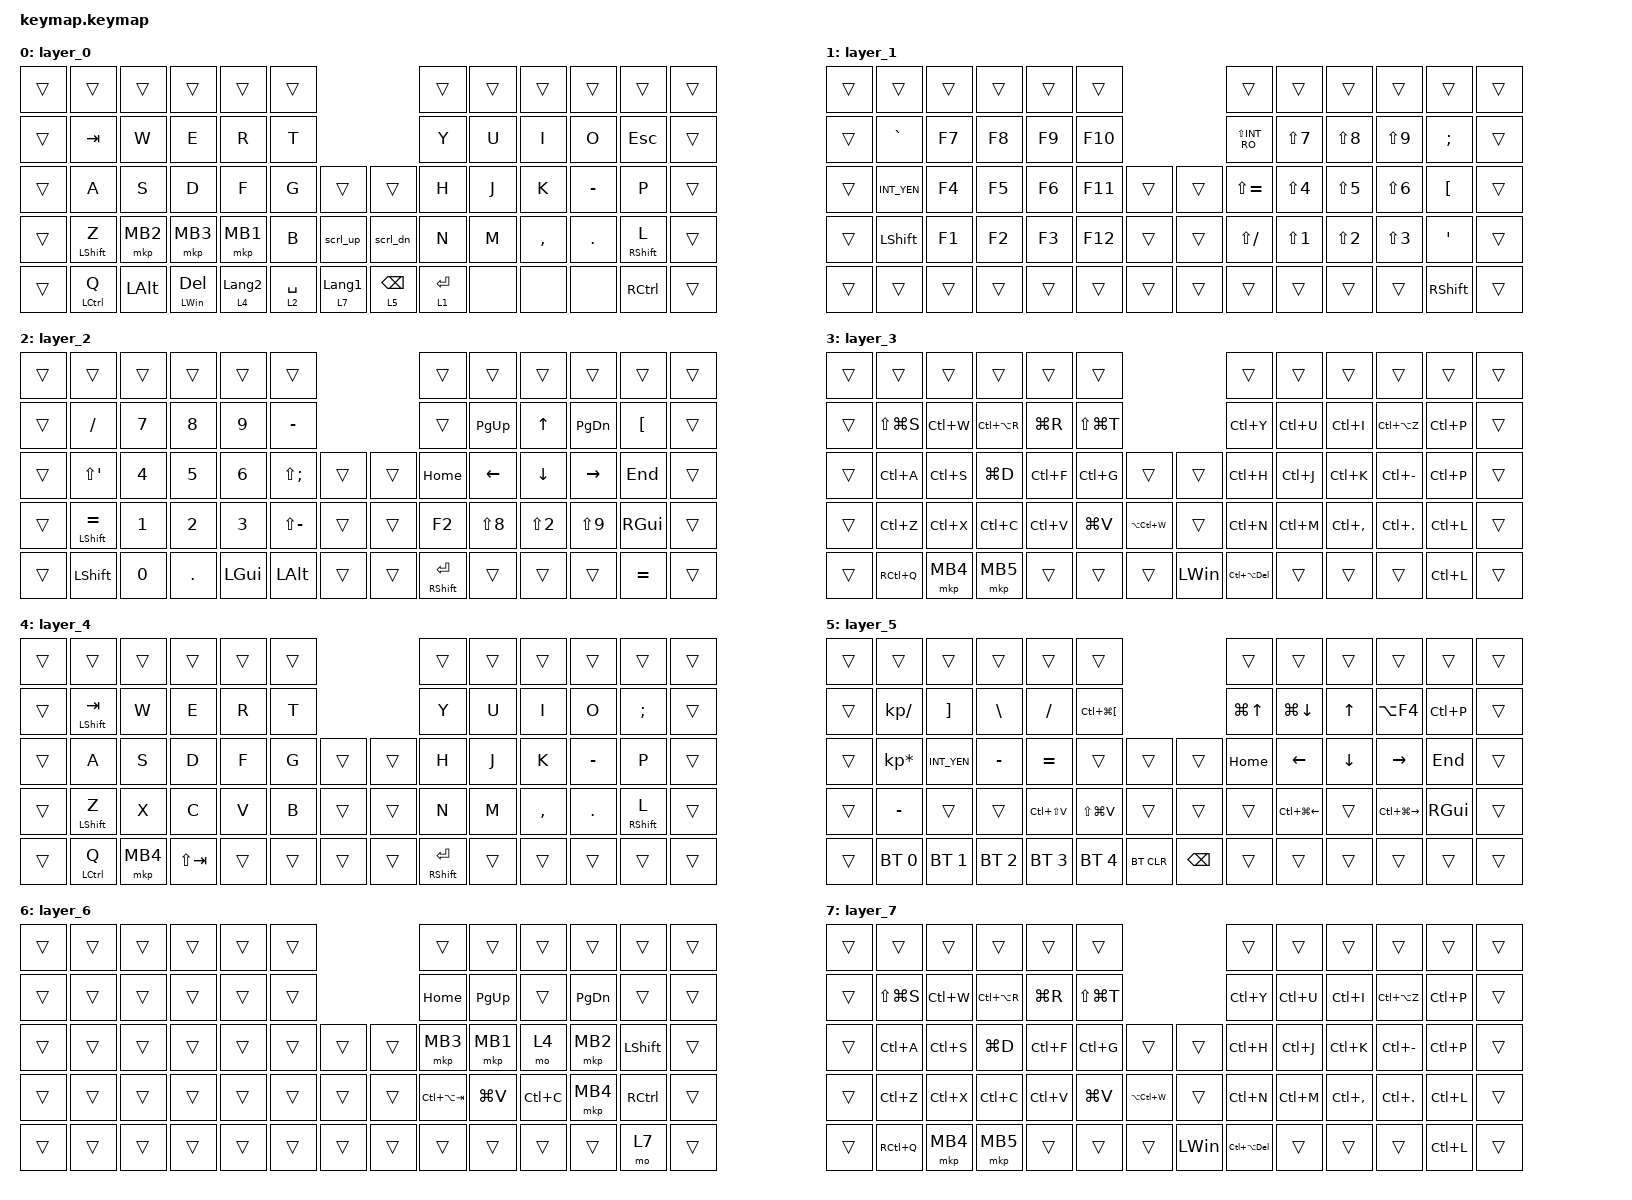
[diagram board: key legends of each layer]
#include <behaviors.dtsi>
#include <dt-bindings/zmk/bt.h>
#include <dt-bindings/zmk/keys.h>
#include <dt-bindings/zmk/pointing.h>

/ {
    behaviors {
        // カスタム layer-tap: tapping-term 175ms, quick-tap 200ms
        // Keyball39 QMK設定と同じ TAPPING_TERM 175ms
        // quick-tap-ms: 200ms以内に再タップ→ホールド判定スキップでタップキー出力
        //   (バックスペース素早い連打+長押しがレイヤー切替なしで動作)

        clt: custom_layer_tap {
            compatible = "zmk,behavior-hold-tap";
            #binding-cells = <2>;
            flavor = "balanced";
            tapping-term-ms = <175>;
            quick-tap-ms = <175>;
            bindings = <&mo>, <&kp>;
        };

        // 【旧】ダブルタップで LANGUAGE_1、ホールドで Layer 3
        // 【現】clt 3 LANGUAGE_1 に移行済み（下記定義は未使用）

        td_l3_lang1: tap_dance_layer3_lang1 {
            compatible = "zmk,behavior-tap-dance";
            #binding-cells = <0>;
            tapping-term-ms = <200>;
            bindings = <&mo 7>, <&kp LANGUAGE_1>;
        };

        // カスタム mod-tap: tapping-term 175ms, quick-tap 200ms
        // Keyball39 QMK設定と同じ TAPPING_TERM 175ms

        cmt: custom_mod_tap {
            compatible = "zmk,behavior-hold-tap";
            #binding-cells = <2>;
            flavor = "hold-preferred";
            tapping-term-ms = <175>;
            quick-tap-ms = <175>;
            bindings = <&kp>, <&kp>;
        };

        // Zキー専用 mod-tap: balanced + require-prior-idle 150ms
        // 高速タイピング中のSHIFT誤発動を防止

        cmt_z: custom_mod_tap_z {
            compatible = "zmk,behavior-hold-tap";
            #binding-cells = <2>;
            flavor = "balanced";
            tapping-term-ms = <250>;
            quick-tap-ms = <175>;
            require-prior-idle-ms = <150>;
            bindings = <&kp>, <&kp>;
        };

        // ワンショット固定スクロール: 上方向10

        scrl_up: scroll_up {
            compatible = "zmk,behavior-scroll-fixed";
            #binding-cells = <0>;
            scroll-y = <10>;
        };

        // ワンショット固定スクロール: 下方向10

        scrl_dn: scroll_down {
            compatible = "zmk,behavior-scroll-fixed";
            #binding-cells = <0>;
            scroll-y = <(-10)>;
        };
    };

    combos {
        compatible = "zmk,combos";

        bt_clear {
            bindings = <&bt BT_CLR>;
            key-positions = <28 29>;
            layers = <2>;
        };
    };

    keymap {
        compatible = "zmk,keymap";

        // ============================================================
        // Layer 0: Base (Remap Layer 0)
        // ============================================================

        layer_0 {
            bindings = <
&trans  &trans               &trans        &trans             &trans             &trans                                             &trans        &trans  &trans     &trans     &trans              &trans
&trans  &kp TAB              &kp W         &kp E              &kp R              &kp T                                              &kp Y         &kp U   &kp I      &kp O      &kp ESC             &trans
&trans  &kp A                &kp S         &kp D              &kp F              &kp G         &trans             &trans            &kp H         &kp J   &kp K      &kp MINUS  &kp P               &trans
&trans  &cmt_z LEFT_SHIFT Z  &mkp MB2      &mkp MB3           &mkp MB1           &kp B         &scrl_up           &scrl_dn          &kp N         &kp M   &kp COMMA  &kp DOT    &cmt RIGHT_SHIFT L  &trans
&trans  &cmt LCTRL Q         &kp LEFT_ALT  &cmt LEFT_WIN DEL  &clt 4 LANGUAGE_2  &clt 2 SPACE  &clt 7 LANGUAGE_1  &clt 5 BACKSPACE  &clt 1 ENTER  &none   &none      &none      &kp RCTRL           &trans
            >;
        };

        // ============================================================
        // Layer 1: F-keys + JIS Symbols (Remap Layer 1)
        //   Left:  ~¥  F7-F10 / |¥  F4-F6 F11 / *Shift F1-F3 F12
        //   Right: JIS symbols (Shift+Number) / ;  @  :  RShift
        // ============================================================

        layer_1 {
            bindings = <
&trans  &trans       &trans  &trans  &trans  &trans                   &trans          &trans      &trans      &trans      &trans      &trans
&trans  &kp GRAVE    &kp F7  &kp F8  &kp F9  &kp F10                  &kp LS(INT_RO)  &kp LS(N7)  &kp LS(N8)  &kp LS(N9)  &kp SEMI    &trans
&trans  &kp INT_YEN  &kp F4  &kp F5  &kp F6  &kp F11  &trans  &trans  &kp LS(EQUAL)   &kp LS(N4)  &kp LS(N5)  &kp LS(N6)  &kp LBKT    &trans
&trans  &kp LSHIFT   &kp F1  &kp F2  &kp F3  &kp F12  &trans  &trans  &kp LS(SLASH)   &kp LS(N1)  &kp LS(N2)  &kp LS(N3)  &kp SQT     &trans
&trans  &trans       &trans  &trans  &trans  &trans   &trans  &trans  &trans          &trans      &trans      &trans      &kp RSHIFT  &trans
            >;
        };

        // ============================================================
        // Layer 2: Numbers + Navigation (Remap Layer 2)
        //   Left:  ?/ 7 8 9 =- / * 4 5 6 + / ^(*Shift) 1 2 3 =
        //   Right: PgUp ↑ PgDn / Home ← ↓ → End / F2 ( " ) / Enter(*Shift)
        //   Note: Macro 0 excluded → &trans
        // ============================================================

        layer_2 {
            bindings = <
&trans  &trans             &trans  &trans   &trans    &trans                         &trans             &trans      &trans      &trans      &trans     &trans
&trans  &kp SLASH          &kp N7  &kp N8   &kp N9    &kp MINUS                      &trans             &kp PG_UP   &kp UP      &kp PG_DN   &kp LBKT   &trans
&trans  &kp LS(SQT)        &kp N4  &kp N5   &kp N6    &kp LS(SEMI)   &trans  &trans  &kp HOME           &kp LEFT    &kp DOWN    &kp RIGHT   &kp END    &trans
&trans  &cmt LSHIFT EQUAL  &kp N1  &kp N2   &kp N3    &kp LS(MINUS)  &trans  &trans  &kp F2             &kp LS(N8)  &kp LS(N2)  &kp LS(N9)  &kp RGUI   &trans
&trans  &kp LSHIFT         &kp N0  &kp DOT  &kp LGUI  &kp LALT       &trans  &trans  &cmt RSHIFT ENTER  &trans      &trans      &trans      &kp EQUAL  &trans
            >;
        };

        // ============================================================
        // Layer 3: Shortcuts (Remap Layer 3)
        //   Left:  Win shortcuts, Ctrl+A/S/Z/X/C/V, etc.
        //   Right: Ctrl+Y/H/P/L, Tab, Ctrl+Alt+Del
        //   Note: Macro/Kb keys excluded → &trans
        // ============================================================

        layer_3 {
            bindings = <
&trans  &trans         &trans     &trans         &trans     &trans                                      &trans           &trans     &trans         &trans          &trans     &trans
&trans  &kp LS(LG(S))  &kp LC(W)  &kp LC(LA(R))  &kp LG(R)  &kp LS(LG(T))                               &kp LC(Y)        &kp LC(U)  &kp LC(I)      &kp LC(LA(Z))   &kp LC(P)  &trans
&trans  &kp LC(A)      &kp LC(S)  &kp LG(D)      &kp LC(F)  &kp LC(G)      &trans         &trans        &kp LC(H)        &kp LC(J)  &kp LC(K)      &kp LC(MINUS)   &kp LC(P)  &trans
&trans  &kp LC(Z)      &kp LC(X)  &kp LC(C)      &kp LC(V)  &kp LG(V)      &kp LA(LC(W))  &trans        &kp LC(N)        &kp LC(M)  &kp LC(COMMA)  &kp LC(PERIOD)  &kp LC(L)  &trans
&trans  &kp RC(Q)      &mkp MB4   &mkp MB5       &trans     &trans         &trans         &kp LEFT_WIN  &kp LC(LA(DEL))  &trans     &trans         &trans          &kp LC(L)  &trans
            >;
        };

        // ============================================================
        // Layer 4: Alpha + Shift mod-tap (Remap Layer 4)
        //   Left:  Tab(*Shift) W E R T / A S D F G / Z(*Shift) X C V B
        //          Q(*Ctrl) MB4 Shift+Tab
        //   Right: Y U I O ;(+) / H J K =(-) P / N M , . L(*Shift)
        //          Enter(*Shift)
        // ============================================================

        layer_4 {
            bindings = <
&trans  &trans           &trans    &trans       &trans  &trans                  &trans             &trans  &trans     &trans     &trans         &trans
&trans  &cmt LSHIFT TAB  &kp W     &kp E        &kp R   &kp T                   &kp Y              &kp U   &kp I      &kp O      &kp SEMI       &trans
&trans  &kp A            &kp S     &kp D        &kp F   &kp G   &trans  &trans  &kp H              &kp J   &kp K      &kp MINUS  &kp P          &trans
&trans  &cmt_z LSHIFT Z  &kp X     &kp C        &kp V   &kp B   &trans  &trans  &kp N              &kp M   &kp COMMA  &kp DOT    &cmt RSHIFT L  &trans
&trans  &cmt LCTRL Q     &mkp MB4  &kp LS(TAB)  &trans  &trans  &trans  &trans  &cmt RSHIFT ENTER  &trans  &trans     &trans     &trans         &trans
            >;
        };

        // ============================================================
        // Layer 5: Navigation + Window management (Remap Layer 5)
        //   Left:  Num/ {[ }] ?/ Ctrl+Win+@ / Num* ¥ - ~^ / = Ctrl+Shift+V Shift+Win+V
        //   Right: Win+↑ Win+↓ ↑ Alt+F4 / Home ← ↓ → End / Ctrl+Win+← Ctrl+Win+→
        //   Note: Macro 5, User 3, User 4 excluded → &trans
        // ============================================================

        layer_5 {
            bindings = <
&trans  &trans           &trans        &trans        &trans         &trans                                       &trans      &trans            &trans    &trans             &trans     &trans
&trans  &kp KP_DIVIDE    &kp RBKT      &kp BSLH      &kp SLASH      &kp LC(LG(LBKT))                             &kp LG(UP)  &kp LG(DOWN)      &kp UP    &kp LA(F4)         &kp LC(P)  &trans
&trans  &kp KP_MULTIPLY  &kp INT_YEN   &kp MINUS     &kp EQUAL      &trans            &trans      &trans         &kp HOME    &kp LEFT          &kp DOWN  &kp RIGHT          &kp END    &trans
&trans  &kp MINUS        &trans        &trans        &kp LC(LS(V))  &kp LS(LG(V))     &trans      &trans         &trans      &kp LC(LG(LEFT))  &trans    &kp LC(LG(RIGHT))  &kp RGUI   &trans
&trans  &bt BT_SEL 0     &bt BT_SEL 1  &bt BT_SEL 2  &bt BT_SEL 3   &bt BT_SEL 4      &bt BT_CLR  &kp BACKSPACE  &trans      &trans            &trans    &trans             &trans     &trans
            >;
        };

        // ============================================================
        // Layer 6: Auto Mouse Layer (Keyball39互換)
        //   トラックボール操作時に自動で切り替わるレイヤー
        //   Left:  MB2 MB3 MB1 ↑ ↓ / MB4 MB5 / 縦Scroll 横Scroll
        //   Right: Home PgUp PgDn / Ctrl+Alt+Tab Win+V Ctrl+C / Shift Ctrl
        // ============================================================

        layer_6 {
            bindings = <
&trans  &trans  &trans  &trans  &trans  &trans                  &trans           &trans     &trans     &trans     &trans          &trans
&trans  &trans  &trans  &trans  &trans  &trans                  &kp HOME         &kp PG_UP  &trans     &kp PG_DN  &trans          &trans
&trans  &trans  &trans  &trans  &trans  &trans  &trans  &trans  &mkp MB3         &mkp MB1   &mo 4      &mkp MB2   &kp LEFT_SHIFT  &trans
&trans  &trans  &trans  &trans  &trans  &trans  &trans  &trans  &kp LC(LA(TAB))  &kp LG(V)  &kp LC(C)  &mkp MB4   &kp RCTRL       &trans
&trans  &trans  &trans  &trans  &trans  &trans  &trans  &trans  &trans           &trans     &trans     &trans     &mo 7           &trans
            >;
        };

        // ============================================================
        // Layer 7: Shortcuts (Mouse Priority override)
        //   This is a copy of Layer 3, placed at a higher index than Layer 6
        //   so that it can override the auto-mouse layer bindings.
        // ============================================================

        layer_7 {
            bindings = <
&trans  &trans         &trans     &trans         &trans     &trans                                      &trans           &trans     &trans         &trans          &trans     &trans
&trans  &kp LS(LG(S))  &kp LC(W)  &kp LC(LA(R))  &kp LG(R)  &kp LS(LG(T))                               &kp LC(Y)        &kp LC(U)  &kp LC(I)      &kp LC(LA(Z))   &kp LC(P)  &trans
&trans  &kp LC(A)      &kp LC(S)  &kp LG(D)      &kp LC(F)  &kp LC(G)      &trans         &trans        &kp LC(H)        &kp LC(J)  &kp LC(K)      &kp LC(MINUS)   &kp LC(P)  &trans
&trans  &kp LC(Z)      &kp LC(X)  &kp LC(C)      &kp LC(V)  &kp LG(V)      &kp LA(LC(W))  &trans        &kp LC(N)        &kp LC(M)  &kp LC(COMMA)  &kp LC(PERIOD)  &kp LC(L)  &trans
&trans  &kp RC(Q)      &mkp MB4   &mkp MB5       &trans     &trans         &trans         &kp LEFT_WIN  &kp LC(LA(DEL))  &trans     &trans         &trans          &kp LC(L)  &trans
            >;
        };
    };
};
